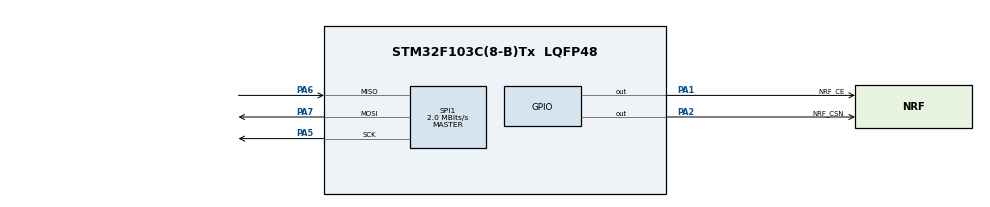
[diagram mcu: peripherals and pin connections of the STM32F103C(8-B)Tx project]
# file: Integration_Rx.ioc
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Mcu.Family=STM32F1
Mcu.Name=STM32F103C(8-B)Tx
Mcu.Package=LQFP48
NVIC.PriorityGroup=NVIC_PRIORITYGROUP_4
PA1.GPIO_Label=NRF_CE
PA1.Signal=GPIO_Output
PA2.GPIO_Label=NRF_CSN
PA2.Signal=GPIO_Output
PA5.Mode=Full_Duplex_Master
PA5.Signal=SPI1_SCK
PA6.Mode=Full_Duplex_Master
PA6.Signal=SPI1_MISO
PA7.Mode=Full_Duplex_Master
PA7.Signal=SPI1_MOSI
ProjectManager.HeapSize=0x200
ProjectManager.StackSize=0x400
ProjectManager.TargetToolchain=STM32CubeIDE
RCC.APB1Freq_Value=8000000
RCC.APB2Freq_Value=8000000
SPI1.BaudRatePrescaler=SPI_BAUDRATEPRESCALER_4
SPI1.CalculateBaudRate=2.0 MBits/s
SPI1.Direction=SPI_DIRECTION_2LINES
SPI1.Mode=SPI_MODE_MASTER
SPI1.VirtualType=VM_MASTER
board=custom

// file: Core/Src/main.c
/* USER CODE BEGIN Header */
/**
  ******************************************************************************
  * @file           : main.c
  * @brief          : Main program body
  ******************************************************************************
  * @attention
  *
  * Copyright (c) 2023 STMicroelectronics.
  * All rights reserved.
  *
  * This software is licensed under terms that can be found in the LICENSE file
  * in the root directory of this software component.
  * If no LICENSE file comes with this software, it is provided AS-IS.
  *
  ******************************************************************************
  */
/* USER CODE END Header */
#include "main.h"
#include "math.h"
/* USER CODE BEGIN Includes */

#include "HAL/HAL_NRF.h"

/* USER CODE END Includes */

SPI_HandleTypeDef hspi1;

void SystemClock_Config(void);
static void MX_GPIO_Init(void);
static void MX_SPI1_Init(void);
void APP_voidNRF_OrganizedData (void) ;

/* USER CODE BEGIN 0 */
uint8_t RxAddress[] = {0xEE,0xDD,0xCC,0xBB,0xAA} ;
uint8_t Rx_Data[15]  ;
uint8_t Char_Index[4]	  ;
uint8_t Data_Organized[4]	  ;
uint8_t Size_In_Bytes = 0 ;
/* USER CODE END 0 */

int main(void)
{

  /* MCU Configuration--------------------------------------------------------*/

  /* Reset of all peripherals, Initializes the Flash interface and the Systick. */
  HAL_Init();

  /* Configure the system clock */
  SystemClock_Config();

  /* USER CODE BEGIN 2 */

  /* Initialize all configured peripherals */
  MX_GPIO_Init();
  MX_SPI1_Init();
  NRF_voidInit();
  NRF_voidReceiverMode(RxAddress, 10 ) ;

  /* USER CODE END 2 */

  /* Infinite loop */
  while (1)
  {

    /* USER CODE BEGIN 3 */
	  APP_voidNRF_OrganizedData() ;

  }
  /* USER CODE END 3 */
}

void SystemClock_Config(void)
{
  RCC_OscInitTypeDef RCC_OscInitStruct = {0};
  RCC_ClkInitTypeDef RCC_ClkInitStruct = {0};

  /** Initializes the RCC Oscillators according to the specified parameters
  * in the RCC_OscInitTypeDef structure.
  */
  RCC_OscInitStruct.OscillatorType = RCC_OSCILLATORTYPE_HSI;
  RCC_OscInitStruct.HSIState = RCC_HSI_ON;
  RCC_OscInitStruct.HSICalibrationValue = RCC_HSICALIBRATION_DEFAULT;
  RCC_OscInitStruct.PLL.PLLState = RCC_PLL_NONE;
  if (HAL_RCC_OscConfig(&RCC_OscInitStruct) != HAL_OK)
  {
    Error_Handler();
  }

  /** Initializes the CPU, AHB and APB buses clocks
  */
  RCC_ClkInitStruct.ClockType = RCC_CLOCKTYPE_HCLK|RCC_CLOCKTYPE_SYSCLK
                              |RCC_CLOCKTYPE_PCLK1|RCC_CLOCKTYPE_PCLK2;
  RCC_ClkInitStruct.SYSCLKSource = RCC_SYSCLKSOURCE_HSI;
  RCC_ClkInitStruct.AHBCLKDivider = RCC_SYSCLK_DIV1;
  RCC_ClkInitStruct.APB1CLKDivider = RCC_HCLK_DIV1;
  RCC_ClkInitStruct.APB2CLKDivider = RCC_HCLK_DIV1;

  if (HAL_RCC_ClockConfig(&RCC_ClkInitStruct, FLASH_LATENCY_0) != HAL_OK)
  {
    Error_Handler();
  }
}

static void MX_SPI1_Init(void)
{

  /* SPI1 parameter configuration*/
  hspi1.Instance = SPI1;
  hspi1.Init.Mode = SPI_MODE_MASTER;
  hspi1.Init.Direction = SPI_DIRECTION_2LINES;
  hspi1.Init.DataSize = SPI_DATASIZE_8BIT;
  hspi1.Init.CLKPolarity = SPI_POLARITY_LOW;
  hspi1.Init.CLKPhase = SPI_PHASE_1EDGE;
  hspi1.Init.NSS = SPI_NSS_SOFT;
  hspi1.Init.BaudRatePrescaler = SPI_BAUDRATEPRESCALER_4;
  hspi1.Init.FirstBit = SPI_FIRSTBIT_MSB;
  hspi1.Init.TIMode = SPI_TIMODE_DISABLE;
  hspi1.Init.CRCCalculation = SPI_CRCCALCULATION_DISABLE;
  hspi1.Init.CRCPolynomial = 10;
  if (HAL_SPI_Init(&hspi1) != HAL_OK)
  {
    Error_Handler();
  }

}

static void MX_GPIO_Init(void)
{
  GPIO_InitTypeDef GPIO_InitStruct = {0};

  /* GPIO Ports Clock Enable */
  __HAL_RCC_GPIOA_CLK_ENABLE();

  /*Configure GPIO pin Output Level */
  HAL_GPIO_WritePin(GPIOA, NRF_CE_Pin|NRF_CSN_Pin, GPIO_PIN_RESET);

  /*Configure GPIO pins : NRF_CE_Pin NRF_CSN_Pin */
  GPIO_InitStruct.Pin = NRF_CE_Pin|NRF_CSN_Pin;
  GPIO_InitStruct.Mode = GPIO_MODE_OUTPUT_PP;
  GPIO_InitStruct.Pull = GPIO_NOPULL;
  GPIO_InitStruct.Speed = GPIO_SPEED_FREQ_LOW;
  HAL_GPIO_Init(GPIOA, &GPIO_InitStruct);

}

/* USER CODE BEGIN 4 */
void APP_voidNRF_OrganizedData (void)
{
	  uint8_t Local_Counter = 0 ;
	  uint8_t Index_Counter = 0 ;
	  uint8_t Shift_Index = 0 ;
	  uint8_t Number = 0 ;

	  /* Data is Available */
	  if (NRF_u8IsDataAvailable(1) == 1 )
	  {
		  NRF_voidReceiveData(Rx_Data) ;

		  while (Rx_Data[Size_In_Bytes] != '+' )
		  {
			  Size_In_Bytes ++ ;
		  }

	/* Determine the Index of Character */
for (Local_Counter = 0 ; Local_Counter < Size_In_Bytes ; Local_Counter++ )
{
	  if ( (Rx_Data[Local_Counter] >=65) && (Rx_Data[Local_Counter] <=122) )
	  {
		  Char_Index[Index_Counter] = Local_Counter ;
		  Index_Counter ++ ;
	  }

}

	  for (Local_Counter = 0 ; Local_Counter < 4 ; Local_Counter++ )
	{

		  switch (Rx_Data[Char_Index[Local_Counter]])
		  {
		  case 'S' :

			  Shift_Index = Char_Index[1] - Char_Index[0] -1 ;
			  for (uint8_t i = Shift_Index ; i>0 ; i--)
			  {
				  Number = Number +((Rx_Data[Char_Index[Local_Counter]+i]-48) * pow(10,(Shift_Index-i))) ;
			  }
			  Data_Organized[0] = Number ;
			  Number = 0 ;
			  break ;

		  case 'D' :

			  Data_Organized[1] = Rx_Data[Char_Index[Local_Counter]+1]-48 ;
			  break ;

		  case 'M' :

			  Shift_Index = Char_Index[3] - Char_Index[2] -1 ;
			  for (uint8_t i = Shift_Index ; i>0 ; i--)
			  {
				  Number += (Rx_Data[Char_Index[Local_Counter]+i]-48) * pow(10,(Shift_Index-i)) ;
			  }
			  Data_Organized[2] = Number ;
			  Number = 0 ;
			  break ;

		  case 'I' :

			  Data_Organized[3] = Rx_Data[Char_Index[Local_Counter]+1]-48 ;
			  break ;

		  }
	}
		  Size_In_Bytes = 0 ;

	  }
}
/* USER CODE END 4 */

void Error_Handler(void)
{
  __disable_irq();
  while (1)
  {
  }
}
